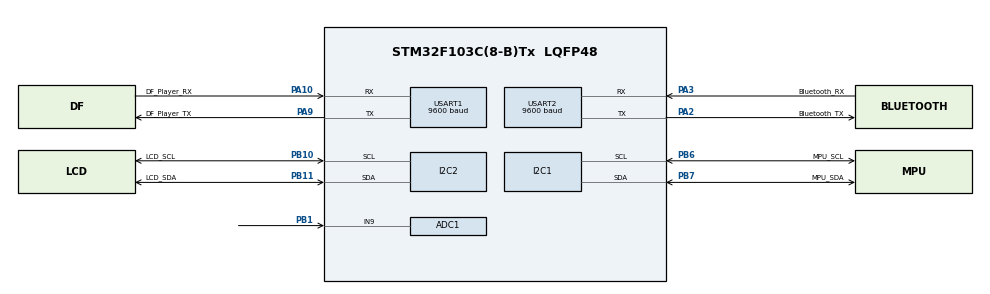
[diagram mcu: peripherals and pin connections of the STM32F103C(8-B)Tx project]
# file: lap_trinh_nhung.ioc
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ADC1.Channel-0\#ChannelRegularConversion=ADC_CHANNEL_9
ADC1.ContinuousConvMode=ENABLE
ADC1.NbrOfConversionFlag=1
ADC1.Rank-0\#ChannelRegularConversion=1
ADC1.SamplingTime-0\#ChannelRegularConversion=ADC_SAMPLETIME_1CYCLE_5
ADC1.master=1
FREERTOS.Tasks01=defaultTask,0,128,StartDefaultTask,Default,NULL,Dynamic,NULL,NULL
FREERTOS.configUSE_NEWLIB_REENTRANT=1
FREERTOS.copyHeapFile=0
Mcu.Family=STM32F1
Mcu.Name=STM32F103C(8-B)Tx
Mcu.Package=LQFP48
NVIC.PriorityGroup=NVIC_PRIORITYGROUP_4
NVIC.TIM1_UP_IRQn=true\:15\:0\:false\:false\:true\:false\:false\:true\:true
NVIC.TimeBase=TIM1_UP_IRQn
NVIC.TimeBaseIP=TIM1
PA10.GPIO_Label=DF_Player_RX
PA10.Mode=Asynchronous
PA10.Signal=USART1_RX
PA13.Mode=Serial_Wire
PA13.Signal=SYS_JTMS-SWDIO
PA14.Mode=Serial_Wire
PA14.Signal=SYS_JTCK-SWCLK
PA2.GPIO_Label=Bluetooth_TX
PA2.Mode=Asynchronous
PA2.Signal=USART2_TX
PA3.GPIO_Label=Bluetooth_RX
PA3.Mode=Asynchronous
PA3.Signal=USART2_RX
PA9.GPIO_Label=DF_Player_TX
PA9.Mode=Asynchronous
PA9.Signal=USART1_TX
PB1.Signal=ADCx_IN9
PB10.GPIO_Label=LCD_SCL
PB10.Mode=I2C
PB10.Signal=I2C2_SCL
PB11.GPIO_Label=LCD_SDA
PB11.Mode=I2C
PB11.Signal=I2C2_SDA
PB6.GPIO_Label=MPU_SCL
PB6.Mode=I2C
PB6.Signal=I2C1_SCL
PB7.GPIO_Label=MPU_SDA
PB7.Mode=I2C
PB7.Signal=I2C1_SDA
ProjectManager.HeapSize=0x200
ProjectManager.StackSize=0x400
ProjectManager.TargetToolchain=STM32CubeIDE
RCC.APB1Freq_Value=8000000
RCC.APB2Freq_Value=8000000
SH.ADCx_IN9.0=ADC1_IN9,IN9
USART1.BaudRate=9600
USART1.VirtualMode=VM_ASYNC
USART2.BaudRate=9600
USART2.VirtualMode=VM_ASYNC
VP_FREERTOS_VS_CMSIS_V1.Mode=CMSIS_V1
VP_SYS_VS_tim1.Mode=TIM1
board=custom

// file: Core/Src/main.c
/* USER CODE BEGIN Header */
/**
  ******************************************************************************
  * @file           : main.c
  * @brief          : Main program body
  ******************************************************************************
  * @attention
  *
  * Copyright (c) 2024 STMicroelectronics.
  * All rights reserved.
  *
  * This software is licensed under terms that can be found in the LICENSE file
  * in the root directory of this software component.
  * If no LICENSE file comes with this software, it is provided AS-IS.
  *
  ******************************************************************************
  */
/* USER CODE END Header */
#include "main.h"
#include "cmsis_os.h"

/* USER CODE BEGIN Includes */
#include "MPU_6050.h"
#include "DFPLAYER_MINI.h"
#include "Data_Handling.h"
#include <string.h>
#include <stdio.h>
#include <stdlib.h>
/* USER CODE END Includes */

ADC_HandleTypeDef hadc1;

I2C_HandleTypeDef hi2c1;
I2C_HandleTypeDef hi2c2;

UART_HandleTypeDef huart1;
UART_HandleTypeDef huart2;

osThreadId defaultTaskHandle;
/* USER CODE BEGIN PV */
//Task ID
osThreadId getMpuDataTaskHandle;
osThreadId complimentaryFilterTaskHandle;
osThreadId transmitMPUDataTaskHandle;

//Global variable
uint8_t bluetooth_tx_buffer[100];
//This type define struct contain all information that use for MPU
MPU6050_DataFusionTypedef mpu;
//This is a part of Bluetooth frame
char mode;
//Value for storing ADC
uint32_t flex_sensor_adc=0;
/* USER CODE END PV */

void SystemClock_Config(void);
static void MX_GPIO_Init(void);
static void MX_I2C1_Init(void);
static void MX_I2C2_Init(void);
static void MX_USART1_UART_Init(void);
static void MX_USART2_UART_Init(void);
static void MX_ADC1_Init(void);
void StartDefaultTask(void const * argument);

/* USER CODE BEGIN PFP */
void getMpuDataTask(void const * argument);
void complimentaryFilterTask(void const *argument);
void transmitMPUDataTask(void const *argument);
/* USER CODE END PFP */

int main(void)
{

  /* MCU Configuration--------------------------------------------------------*/

  /* Reset of all peripherals, Initializes the Flash interface and the Systick. */
  HAL_Init();

  /* Configure the system clock */
  SystemClock_Config();

  /* Initialize all configured peripherals */
  MX_GPIO_Init();
  MX_I2C1_Init();
  MX_I2C2_Init();
  MX_USART1_UART_Init();
  MX_USART2_UART_Init();
  MX_ADC1_Init();
  /* USER CODE BEGIN 2 */
  //init adc and mpu
  mpu6050init();
  ComplimenttaryFilterInit(&mpu,0.02);
  HAL_ADC_Start(&hadc1);
  /* USER CODE END 2 */

  /* Create the thread(s) */
  /* definition and creation of defaultTask */
  osThreadDef(defaultTask, StartDefaultTask, osPriorityNormal, 0, 128);
  defaultTaskHandle = osThreadCreate(osThread(defaultTask), NULL);

  /* USER CODE BEGIN RTOS_THREADS */
  /* add threads, ... */
  osThreadDef(mpuDataTask,getMpuDataTask,osPriorityNormal,0,128);
  getMpuDataTaskHandle=osThreadCreate(osThread(mpuDataTask), NULL);

  osThreadDef(mpuOutputTask,complimentaryFilterTask,osPriorityNormal,0,128);
  complimentaryFilterTaskHandle=osThreadCreate(osThread(mpuOutputTask),NULL);

  osThreadDef(mpuTransmitTask,transmitMPUDataTask,osPriorityNormal,0,200);
  transmitMPUDataTaskHandle=osThreadCreate(osThread(mpuTransmitTask), NULL);
  /* USER CODE END RTOS_THREADS */

  /* Start scheduler */
  osKernelStart();

  /* We should never get here as control is now taken by the scheduler */

  /* Infinite loop */
  while (1)
  {

  }
}

void SystemClock_Config(void)
{
  RCC_OscInitTypeDef RCC_OscInitStruct = {0};
  RCC_ClkInitTypeDef RCC_ClkInitStruct = {0};
  RCC_PeriphCLKInitTypeDef PeriphClkInit = {0};

  /** Initializes the RCC Oscillators according to the specified parameters
  * in the RCC_OscInitTypeDef structure.
  */
  RCC_OscInitStruct.OscillatorType = RCC_OSCILLATORTYPE_HSI;
  RCC_OscInitStruct.HSIState = RCC_HSI_ON;
  RCC_OscInitStruct.HSICalibrationValue = RCC_HSICALIBRATION_DEFAULT;
  RCC_OscInitStruct.PLL.PLLState = RCC_PLL_NONE;
  if (HAL_RCC_OscConfig(&RCC_OscInitStruct) != HAL_OK)
  {
    Error_Handler();
  }

  /** Initializes the CPU, AHB and APB buses clocks
  */
  RCC_ClkInitStruct.ClockType = RCC_CLOCKTYPE_HCLK|RCC_CLOCKTYPE_SYSCLK
                              |RCC_CLOCKTYPE_PCLK1|RCC_CLOCKTYPE_PCLK2;
  RCC_ClkInitStruct.SYSCLKSource = RCC_SYSCLKSOURCE_HSI;
  RCC_ClkInitStruct.AHBCLKDivider = RCC_SYSCLK_DIV1;
  RCC_ClkInitStruct.APB1CLKDivider = RCC_HCLK_DIV1;
  RCC_ClkInitStruct.APB2CLKDivider = RCC_HCLK_DIV1;

  if (HAL_RCC_ClockConfig(&RCC_ClkInitStruct, FLASH_LATENCY_0) != HAL_OK)
  {
    Error_Handler();
  }
  PeriphClkInit.PeriphClockSelection = RCC_PERIPHCLK_ADC;
  PeriphClkInit.AdcClockSelection = RCC_ADCPCLK2_DIV2;
  if (HAL_RCCEx_PeriphCLKConfig(&PeriphClkInit) != HAL_OK)
  {
    Error_Handler();
  }
}

static void MX_ADC1_Init(void)
{

  ADC_ChannelConfTypeDef sConfig = {0};

  /** Common config
  */
  hadc1.Instance = ADC1;
  hadc1.Init.ScanConvMode = ADC_SCAN_DISABLE;
  hadc1.Init.ContinuousConvMode = ENABLE;
  hadc1.Init.DiscontinuousConvMode = DISABLE;
  hadc1.Init.ExternalTrigConv = ADC_SOFTWARE_START;
  hadc1.Init.DataAlign = ADC_DATAALIGN_RIGHT;
  hadc1.Init.NbrOfConversion = 1;
  if (HAL_ADC_Init(&hadc1) != HAL_OK)
  {
    Error_Handler();
  }

  /** Configure Regular Channel
  */
  sConfig.Channel = ADC_CHANNEL_9;
  sConfig.Rank = ADC_REGULAR_RANK_1;
  sConfig.SamplingTime = ADC_SAMPLETIME_1CYCLE_5;
  if (HAL_ADC_ConfigChannel(&hadc1, &sConfig) != HAL_OK)
  {
    Error_Handler();
  }

}

static void MX_I2C1_Init(void)
{

  hi2c1.Instance = I2C1;
  hi2c1.Init.ClockSpeed = 100000;
  hi2c1.Init.DutyCycle = I2C_DUTYCYCLE_2;
  hi2c1.Init.OwnAddress1 = 0;
  hi2c1.Init.AddressingMode = I2C_ADDRESSINGMODE_7BIT;
  hi2c1.Init.DualAddressMode = I2C_DUALADDRESS_DISABLE;
  hi2c1.Init.OwnAddress2 = 0;
  hi2c1.Init.GeneralCallMode = I2C_GENERALCALL_DISABLE;
  hi2c1.Init.NoStretchMode = I2C_NOSTRETCH_DISABLE;
  if (HAL_I2C_Init(&hi2c1) != HAL_OK)
  {
    Error_Handler();
  }

}

static void MX_I2C2_Init(void)
{

  hi2c2.Instance = I2C2;
  hi2c2.Init.ClockSpeed = 100000;
  hi2c2.Init.DutyCycle = I2C_DUTYCYCLE_2;
  hi2c2.Init.OwnAddress1 = 0;
  hi2c2.Init.AddressingMode = I2C_ADDRESSINGMODE_7BIT;
  hi2c2.Init.DualAddressMode = I2C_DUALADDRESS_DISABLE;
  hi2c2.Init.OwnAddress2 = 0;
  hi2c2.Init.GeneralCallMode = I2C_GENERALCALL_DISABLE;
  hi2c2.Init.NoStretchMode = I2C_NOSTRETCH_DISABLE;
  if (HAL_I2C_Init(&hi2c2) != HAL_OK)
  {
    Error_Handler();
  }

}

static void MX_USART1_UART_Init(void)
{

  huart1.Instance = USART1;
  huart1.Init.BaudRate = 9600;
  huart1.Init.WordLength = UART_WORDLENGTH_8B;
  huart1.Init.StopBits = UART_STOPBITS_1;
  huart1.Init.Parity = UART_PARITY_NONE;
  huart1.Init.Mode = UART_MODE_TX_RX;
  huart1.Init.HwFlowCtl = UART_HWCONTROL_NONE;
  huart1.Init.OverSampling = UART_OVERSAMPLING_16;
  if (HAL_UART_Init(&huart1) != HAL_OK)
  {
    Error_Handler();
  }

}

static void MX_USART2_UART_Init(void)
{

  huart2.Instance = USART2;
  huart2.Init.BaudRate = 9600;
  huart2.Init.WordLength = UART_WORDLENGTH_8B;
  huart2.Init.StopBits = UART_STOPBITS_1;
  huart2.Init.Parity = UART_PARITY_NONE;
  huart2.Init.Mode = UART_MODE_TX_RX;
  huart2.Init.HwFlowCtl = UART_HWCONTROL_NONE;
  huart2.Init.OverSampling = UART_OVERSAMPLING_16;
  if (HAL_UART_Init(&huart2) != HAL_OK)
  {
    Error_Handler();
  }

}

static void MX_GPIO_Init(void)
{

  /* GPIO Ports Clock Enable */
  __HAL_RCC_GPIOA_CLK_ENABLE();
  __HAL_RCC_GPIOB_CLK_ENABLE();

}

/* USER CODE BEGIN 4 */
//defining tasks

/**
 * @note This task will get data from mpu and store into struct
**/
void getMpuDataTask(void const * argument)
{
	while(1)
	{
		getGyroData(&mpu);
		getAccelData(&mpu);
	}
}

/**
 * @note This task will put mpu data through a filter to estimate the roll and pitch we want
**/
void complimentaryFilterTask(void const *argument)
{
	while(1)
	{
		mpu6050ComplimentaryFilter(&mpu);
		osDelay(20);
	}
}

/**
 * @note This task will get data from adc, create transmit frame base on adc,mpu data
 *       and transmit the frame to bluetooth
**/
void transmitMPUDataTask(void const *argument)
{

	while(1)
	{

		flex_sensor_adc=HAL_ADC_GetValue(&hadc1);
		if(flex_sensor_adc>=3000)
			mode='d';
		else
			mode='m';
		sprintf((char*)bluetooth_tx_buffer,"%c/%d/%d\n",mode,(int)mpu.CF_roll_degree,(int)mpu.CF_pitch_degree);
		HAL_UART_Transmit(&huart2, bluetooth_tx_buffer,30, 500);
		osDelay(20);
	}
}
/* USER CODE END 4 */

void StartDefaultTask(void const * argument)
{
  for(;;)
  {
    osDelay(1);
  }
}

void HAL_TIM_PeriodElapsedCallback(TIM_HandleTypeDef *htim)
{
  if (htim->Instance == TIM1) {
    HAL_IncTick();
  }
}

void Error_Handler(void)
{
  __disable_irq();
  while (1)
  {
  }
}
